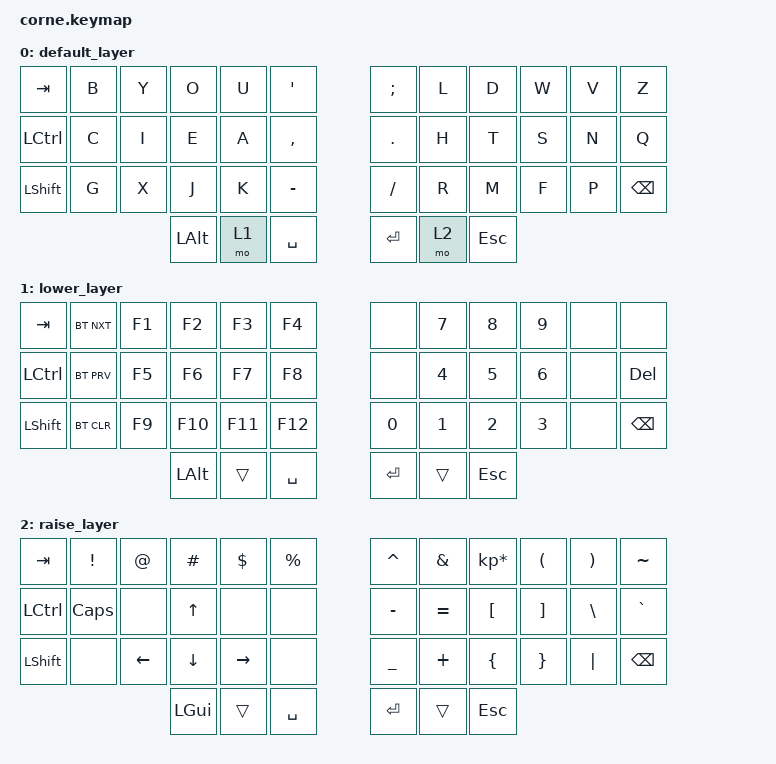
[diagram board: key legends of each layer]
/*
 * Copyright (c) 2020 The ZMK Contributors
 *
 * SPDX-License-Identifier: MIT
 */

#include <behaviors.dtsi>
#include <dt-bindings/zmk/bt.h>
#include <dt-bindings/zmk/keys.h>

/ {
    keymap {
        compatible = "zmk,keymap";

        default_layer {
            // -----------------------------------------------------------------------------------------
            // |  TAB |  B  |  Y  |  O  |  U  |  '  |   |  ;  |  L   |  D  |  W  |  V  |  Z   |
            // | CTRL |  C  |  I  |  E  |  A  |  ,  |   |  .  |  H   |  T  |  S  |  N  |  Q   |
            // | SHFT |  G  |  X  |  J  |  K  |  -  |   |  /  |  R   |  M  |  F  |  P  | ESC  |
            //                    | ALT | LWR | SPC |   | ENT | RSE  | ESC |

            bindings = <
  &kp TAB  &kp B  &kp Y         &kp O  &kp U    &kp SQT    &kp SEMICOLON  &kp L       &kp D  &kp W  &kp V          &kp Z
&kp LCTRL  &kp C  &kp I         &kp E  &kp A  &kp COMMA       &kp PERIOD  &kp H       &kp T  &kp S  &kp N          &kp Q
&kp LSHFT  &kp G  &kp X         &kp J  &kp K  &kp MINUS        &kp SLASH  &kp R       &kp M  &kp F  &kp P  &kp BACKSPACE
                         &kp LEFT_ALT  &mo 1  &kp SPACE          &kp RET  &mo 2  &kp ESCAPE
            >;
        };

        lower_layer {
            // -----------------------------------------------------------------------------------------
            // |  TAB | BTNXT |  F1 |  F2 |  F3 |  F4 |   |     |  7  |  8  |  9  |     |      |
            // | CTRL | BTPRV |  F5 |  F6 |  F7 |  F8 |   |     |  4  |  5  |  6  |     |  DEL |
            // | SHFT | BTCLR |  F9 | F10 | F11 | F12 |   |  0  |  1  |  2  |  3  |     | BKSP |
            //                    | ALT |     | SPC |   | ENT |     | ESC |

            bindings = <
  &kp TAB  &bt BT_NXT  &kp F1    &kp F2   &kp F3     &kp F4           &none  &kp N7      &kp N8  &kp N9  &none          &none
&kp LCTRL  &bt BT_PRV  &kp F5    &kp F6   &kp F7     &kp F8           &none  &kp N4      &kp N5  &kp N6  &none     &kp DELETE
&kp LSHFT  &bt BT_CLR  &kp F9   &kp F10  &kp F11    &kp F12    &kp NUMBER_0  &kp N1      &kp N2  &kp N3  &none  &kp BACKSPACE
                               &kp LALT   &trans  &kp SPACE       &kp ENTER  &trans  &kp ESCAPE
            >;
        };

        raise_layer {
            // -----------------------------------------------------------------------------------------
            // |  TAB |  !  |  @  |  #  |  $  |  %  |   |  ^  |  &  |  *  |  (  |  )  |  ~   |
            // | CTRL |CAPS |     | UP  |     |     |   |  -  |  =  |  [  |  ]  |  \  |  `   |
            // | SHFT |     | LFT | DWN | RGT |     |   |  _  |  +  |  {  |  }  | "|" | BKSP |
            //                    | GUI |     | SPC |   | ENT |     | ESC |

            bindings = <
  &kp TAB      &kp EXCL    &kp AT  &kp HASH   &kp DLLR  &kp PRCNT    &kp CARET   &kp AMPS  &kp KP_MULTIPLY  &kp LPAR  &kp RPAR      &kp TILDE
&kp LCTRL  &kp CAPSLOCK     &none    &kp UP      &none      &none    &kp MINUS  &kp EQUAL         &kp LBKT  &kp RBKT  &kp BSLH      &kp GRAVE
&kp LSHFT         &none  &kp LEFT  &kp DOWN  &kp RIGHT      &none    &kp UNDER   &kp PLUS         &kp LBRC  &kp RBRC  &kp PIPE  &kp BACKSPACE
                                   &kp LGUI     &trans  &kp SPACE      &kp RET     &trans          &kp ESC
            >;
        };
    };
};
